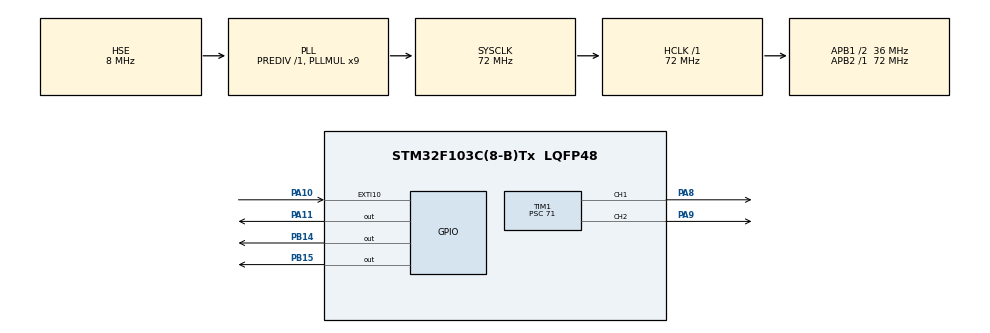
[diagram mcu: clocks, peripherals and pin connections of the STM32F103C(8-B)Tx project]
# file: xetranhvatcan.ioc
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Mcu.Family=STM32F1
Mcu.Name=STM32F103C(8-B)Tx
Mcu.Package=LQFP48
NVIC.EXTI15_10_IRQn=true\:1\:0\:true\:false\:true\:true\:true\:true
NVIC.PriorityGroup=NVIC_PRIORITYGROUP_4
PA10.GPIO_ModeDefaultEXTI=GPIO_MODE_IT_RISING_FALLING
PA10.GPIO_PuPd=GPIO_PULLUP
PA10.Signal=GPXTI10
PA11.Signal=GPIO_Output
PA13.Mode=Serial_Wire
PA13.Signal=SYS_JTMS-SWDIO
PA14.Mode=Serial_Wire
PA14.Signal=SYS_JTCK-SWCLK
PA8.Signal=S_TIM1_CH1
PA9.Signal=S_TIM1_CH2
PB14.Signal=GPIO_Output
PB15.Signal=GPIO_Output
PD0-OSC_IN.Mode=HSE-External-Oscillator
PD0-OSC_IN.Signal=RCC_OSC_IN
PD1-OSC_OUT.Mode=HSE-External-Oscillator
PD1-OSC_OUT.Signal=RCC_OSC_OUT
ProjectManager.HeapSize=0x200
ProjectManager.StackSize=0x400
ProjectManager.TargetToolchain=MDK-ARM V5.32
RCC.AHBFreq_Value=72000000
RCC.APB1CLKDivider=RCC_HCLK_DIV2
RCC.APB1Freq_Value=36000000
RCC.APB1TimFreq_Value=72000000
RCC.APB2Freq_Value=72000000
RCC.APB2TimFreq_Value=72000000
RCC.HCLKFreq_Value=72000000
RCC.PLLMUL=RCC_PLL_MUL9
RCC.PLLSourceVirtual=RCC_PLLSOURCE_HSE
RCC.SYSCLKFreq_VALUE=72000000
RCC.SYSCLKSource=RCC_SYSCLKSOURCE_PLLCLK
RCC.USBFreq_Value=72000000
SH.S_TIM1_CH1.0=TIM1_CH1,PWM Generation1 CH1
SH.S_TIM1_CH2.0=TIM1_CH2,PWM Generation2 CH2
TIM1.Channel-PWM\ Generation1\ CH1=TIM_CHANNEL_1
TIM1.Channel-PWM\ Generation2\ CH2=TIM_CHANNEL_2
TIM1.Period=999
TIM1.Prescaler=71
TIM2.Prescaler=71
VP_TIM1_VS_ClockSourceINT.Mode=Internal
VP_TIM2_VS_ClockSourceINT.Mode=Internal
board=custom

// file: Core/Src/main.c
/* USER CODE BEGIN Header */
/**
  ******************************************************************************
  * @file           : main.c
  * @brief          : Main program body
  ******************************************************************************
  * @attention
  *
  * Copyright (c) 2023 STMicroelectronics.
  * All rights reserved.
  *
  * This software is licensed under terms that can be found in the LICENSE file
  * in the root directory of this software component.
  * If no LICENSE file comes with this software, it is provided AS-IS.
  *
  ******************************************************************************
  */
/* USER CODE END Header */
#include "main.h"

/* USER CODE BEGIN Includes */
#include "Motor.h"
#include "sr04.h"
/* USER CODE END Includes */

TIM_HandleTypeDef htim1;
TIM_HandleTypeDef htim2;

/* USER CODE BEGIN PV */
handle_motor motor_left ;
handle_motor motor_right ;
handleTyledef_sr04 sr04 ;
/* USER CODE END PV */

void SystemClock_Config(void);
static void MX_GPIO_Init(void);
static void MX_TIM1_Init(void);
static void MX_TIM2_Init(void);

/* USER CODE BEGIN 0 */

//****************trang thai khi tranh vat can********************
typedef enum {
  GO,
	BACK,
	RIGHT,
}STATE_PRJ;

STATE_PRJ state_vatcan = GO;

float var ;
//*******************ham xu ly khi do duoc khoang cach**************
void complete_data_callback(float kc){
	var = kc ;
	if(kc <= 40){
		 state_vatcan = RIGHT;
	}
	else if(kc > 40){
			state_vatcan = GO;
	}
}
//******************xu ly call back do khoang cach********************
void HAL_GPIO_EXTI_Callback(uint16_t GPIO_Pin){

	if(GPIO_Pin == GPIO_PIN_10){
		sr04_handle_interrupt(&sr04);
	}
}

//*******************cac trang thai cua xe(car)**********************
typedef enum{
	CAR_STATE_STOP,
	CAR_STATE_LEFT,
	CAR_STATE_RIGHT,
	CAR_STATE_BACK,
	CAR_STATE_FORDWARD,
	CAR_STATE_BACK_RIGHT,
}CAR_STATE ;

void car_control(CAR_STATE car_state , uint8_t speed){

	switch(car_state){
		case CAR_STATE_STOP:
			motor_control(&motor_left,STATE_STOP,0);
			motor_control(&motor_right,STATE_STOP,0);
			break;
		case CAR_STATE_LEFT:
			motor_control(&motor_left,STATE_STOP,0);
			motor_control(&motor_right,STATE_FORWARD,speed);
			break;
		case CAR_STATE_RIGHT:
			motor_control(&motor_right,STATE_STOP,0);
			motor_control(&motor_left,STATE_FORWARD,speed);
			break;
		case CAR_STATE_BACK:
			motor_control(&motor_left,STATE_BEHIND,speed);
			motor_control(&motor_right,STATE_BEHIND,speed);
			break;
		case CAR_STATE_FORDWARD:
			motor_control(&motor_left,STATE_FORWARD,speed);
			motor_control(&motor_right,STATE_FORWARD,speed);
			break;
		case CAR_STATE_BACK_RIGHT:
			motor_control(&motor_right,STATE_STOP,0);
			motor_control(&motor_left,STATE_BEHIND,speed);
			break;
		default :
			break;
	}
}

/* USER CODE END 0 */

int main(void)
{

  /* MCU Configuration--------------------------------------------------------*/

  /* Reset of all peripherals, Initializes the Flash interface and the Systick. */
  HAL_Init();

  /* Configure the system clock */
  SystemClock_Config();

  /* Initialize all configured peripherals */
  MX_GPIO_Init();
  MX_TIM1_Init();
  MX_TIM2_Init();
  /* USER CODE BEGIN 2 */
	motor_init(&motor_left,TIM_CHANNEL_1,&htim1,GPIO_PIN_14 , GPIOB);
	motor_init(&motor_right,TIM_CHANNEL_2,&htim1,GPIO_PIN_15 , GPIOB);
	sr04_init(&sr04,&htim2,GPIOA,GPIO_PIN_11,GPIOA,GPIO_PIN_10);
	sr04_start_trigger(&sr04);

	htim1.Instance->CNT = 0;
	HAL_TIM_PWM_Start(&htim1,TIM_CHANNEL_1);
	HAL_TIM_PWM_Start(&htim1,TIM_CHANNEL_2);

  /* USER CODE END 2 */

  /* Infinite loop */
  /* USER CODE BEGIN WHILE */
	uint32_t time = 0;
  while (1)
  {
    /* USER CODE END WHILE */

    /* USER CODE BEGIN 3 */
		switch(state_vatcan){
			case GO :
					car_control(CAR_STATE_FORDWARD , 100);
					break ;
			case RIGHT:
					car_control(CAR_STATE_BACK_RIGHT , 50);
					break;
			case BACK :
					car_control(CAR_STATE_BACK , 50);
					break;
			default :
					break;
		}
		//HAL_Delay(100);

		if(HAL_GetTick() - time >= 300)
			{
				sr04_start_trigger(&sr04);
				time = HAL_GetTick();
			}

		sr04_handle(&sr04);
  }
  /* USER CODE END 3 */
}

void SystemClock_Config(void)
{
  RCC_OscInitTypeDef RCC_OscInitStruct = {0};
  RCC_ClkInitTypeDef RCC_ClkInitStruct = {0};

  /** Initializes the RCC Oscillators according to the specified parameters
  * in the RCC_OscInitTypeDef structure.
  */
  RCC_OscInitStruct.OscillatorType = RCC_OSCILLATORTYPE_HSE;
  RCC_OscInitStruct.HSEState = RCC_HSE_ON;
  RCC_OscInitStruct.HSEPredivValue = RCC_HSE_PREDIV_DIV1;
  RCC_OscInitStruct.HSIState = RCC_HSI_ON;
  RCC_OscInitStruct.PLL.PLLState = RCC_PLL_ON;
  RCC_OscInitStruct.PLL.PLLSource = RCC_PLLSOURCE_HSE;
  RCC_OscInitStruct.PLL.PLLMUL = RCC_PLL_MUL9;
  if (HAL_RCC_OscConfig(&RCC_OscInitStruct) != HAL_OK)
  {
    Error_Handler();
  }

  /** Initializes the CPU, AHB and APB buses clocks
  */
  RCC_ClkInitStruct.ClockType = RCC_CLOCKTYPE_HCLK|RCC_CLOCKTYPE_SYSCLK
                              |RCC_CLOCKTYPE_PCLK1|RCC_CLOCKTYPE_PCLK2;
  RCC_ClkInitStruct.SYSCLKSource = RCC_SYSCLKSOURCE_PLLCLK;
  RCC_ClkInitStruct.AHBCLKDivider = RCC_SYSCLK_DIV1;
  RCC_ClkInitStruct.APB1CLKDivider = RCC_HCLK_DIV2;
  RCC_ClkInitStruct.APB2CLKDivider = RCC_HCLK_DIV1;

  if (HAL_RCC_ClockConfig(&RCC_ClkInitStruct, FLASH_LATENCY_2) != HAL_OK)
  {
    Error_Handler();
  }
}

static void MX_TIM1_Init(void)
{

  TIM_ClockConfigTypeDef sClockSourceConfig = {0};
  TIM_MasterConfigTypeDef sMasterConfig = {0};
  TIM_OC_InitTypeDef sConfigOC = {0};
  TIM_BreakDeadTimeConfigTypeDef sBreakDeadTimeConfig = {0};

  htim1.Instance = TIM1;
  htim1.Init.Prescaler = 71;
  htim1.Init.CounterMode = TIM_COUNTERMODE_UP;
  htim1.Init.Period = 999;
  htim1.Init.ClockDivision = TIM_CLOCKDIVISION_DIV1;
  htim1.Init.RepetitionCounter = 0;
  htim1.Init.AutoReloadPreload = TIM_AUTORELOAD_PRELOAD_DISABLE;
  if (HAL_TIM_Base_Init(&htim1) != HAL_OK)
  {
    Error_Handler();
  }
  sClockSourceConfig.ClockSource = TIM_CLOCKSOURCE_INTERNAL;
  if (HAL_TIM_ConfigClockSource(&htim1, &sClockSourceConfig) != HAL_OK)
  {
    Error_Handler();
  }
  if (HAL_TIM_PWM_Init(&htim1) != HAL_OK)
  {
    Error_Handler();
  }
  sMasterConfig.MasterOutputTrigger = TIM_TRGO_RESET;
  sMasterConfig.MasterSlaveMode = TIM_MASTERSLAVEMODE_DISABLE;
  if (HAL_TIMEx_MasterConfigSynchronization(&htim1, &sMasterConfig) != HAL_OK)
  {
    Error_Handler();
  }
  sConfigOC.OCMode = TIM_OCMODE_PWM1;
  sConfigOC.Pulse = 0;
  sConfigOC.OCPolarity = TIM_OCPOLARITY_HIGH;
  sConfigOC.OCNPolarity = TIM_OCNPOLARITY_HIGH;
  sConfigOC.OCFastMode = TIM_OCFAST_DISABLE;
  sConfigOC.OCIdleState = TIM_OCIDLESTATE_RESET;
  sConfigOC.OCNIdleState = TIM_OCNIDLESTATE_RESET;
  if (HAL_TIM_PWM_ConfigChannel(&htim1, &sConfigOC, TIM_CHANNEL_1) != HAL_OK)
  {
    Error_Handler();
  }
  if (HAL_TIM_PWM_ConfigChannel(&htim1, &sConfigOC, TIM_CHANNEL_2) != HAL_OK)
  {
    Error_Handler();
  }
  sBreakDeadTimeConfig.OffStateRunMode = TIM_OSSR_DISABLE;
  sBreakDeadTimeConfig.OffStateIDLEMode = TIM_OSSI_DISABLE;
  sBreakDeadTimeConfig.LockLevel = TIM_LOCKLEVEL_OFF;
  sBreakDeadTimeConfig.DeadTime = 0;
  sBreakDeadTimeConfig.BreakState = TIM_BREAK_DISABLE;
  sBreakDeadTimeConfig.BreakPolarity = TIM_BREAKPOLARITY_HIGH;
  sBreakDeadTimeConfig.AutomaticOutput = TIM_AUTOMATICOUTPUT_DISABLE;
  if (HAL_TIMEx_ConfigBreakDeadTime(&htim1, &sBreakDeadTimeConfig) != HAL_OK)
  {
    Error_Handler();
  }
  HAL_TIM_MspPostInit(&htim1);

}

static void MX_TIM2_Init(void)
{

  TIM_ClockConfigTypeDef sClockSourceConfig = {0};
  TIM_MasterConfigTypeDef sMasterConfig = {0};

  htim2.Instance = TIM2;
  htim2.Init.Prescaler = 71;
  htim2.Init.CounterMode = TIM_COUNTERMODE_UP;
  htim2.Init.Period = 65535;
  htim2.Init.ClockDivision = TIM_CLOCKDIVISION_DIV1;
  htim2.Init.AutoReloadPreload = TIM_AUTORELOAD_PRELOAD_DISABLE;
  if (HAL_TIM_Base_Init(&htim2) != HAL_OK)
  {
    Error_Handler();
  }
  sClockSourceConfig.ClockSource = TIM_CLOCKSOURCE_INTERNAL;
  if (HAL_TIM_ConfigClockSource(&htim2, &sClockSourceConfig) != HAL_OK)
  {
    Error_Handler();
  }
  sMasterConfig.MasterOutputTrigger = TIM_TRGO_RESET;
  sMasterConfig.MasterSlaveMode = TIM_MASTERSLAVEMODE_DISABLE;
  if (HAL_TIMEx_MasterConfigSynchronization(&htim2, &sMasterConfig) != HAL_OK)
  {
    Error_Handler();
  }

}

static void MX_GPIO_Init(void)
{
  GPIO_InitTypeDef GPIO_InitStruct = {0};

  /* GPIO Ports Clock Enable */
  __HAL_RCC_GPIOD_CLK_ENABLE();
  __HAL_RCC_GPIOB_CLK_ENABLE();
  __HAL_RCC_GPIOA_CLK_ENABLE();

  /*Configure GPIO pin Output Level */
  HAL_GPIO_WritePin(GPIOB, GPIO_PIN_14|GPIO_PIN_15, GPIO_PIN_RESET);

  /*Configure GPIO pin Output Level */
  HAL_GPIO_WritePin(GPIOA, GPIO_PIN_11, GPIO_PIN_RESET);

  /*Configure GPIO pins : PB14 PB15 */
  GPIO_InitStruct.Pin = GPIO_PIN_14|GPIO_PIN_15;
  GPIO_InitStruct.Mode = GPIO_MODE_OUTPUT_PP;
  GPIO_InitStruct.Pull = GPIO_NOPULL;
  GPIO_InitStruct.Speed = GPIO_SPEED_FREQ_LOW;
  HAL_GPIO_Init(GPIOB, &GPIO_InitStruct);

  /*Configure GPIO pin : PA10 */
  GPIO_InitStruct.Pin = GPIO_PIN_10;
  GPIO_InitStruct.Mode = GPIO_MODE_IT_RISING_FALLING;
  GPIO_InitStruct.Pull = GPIO_PULLUP;
  HAL_GPIO_Init(GPIOA, &GPIO_InitStruct);

  /*Configure GPIO pin : PA11 */
  GPIO_InitStruct.Pin = GPIO_PIN_11;
  GPIO_InitStruct.Mode = GPIO_MODE_OUTPUT_PP;
  GPIO_InitStruct.Pull = GPIO_NOPULL;
  GPIO_InitStruct.Speed = GPIO_SPEED_FREQ_LOW;
  HAL_GPIO_Init(GPIOA, &GPIO_InitStruct);

  /* EXTI interrupt init*/
  HAL_NVIC_SetPriority(EXTI15_10_IRQn, 1, 0);
  HAL_NVIC_EnableIRQ(EXTI15_10_IRQn);

}

void Error_Handler(void)
{
  __disable_irq();
  while (1)
  {
  }
}
